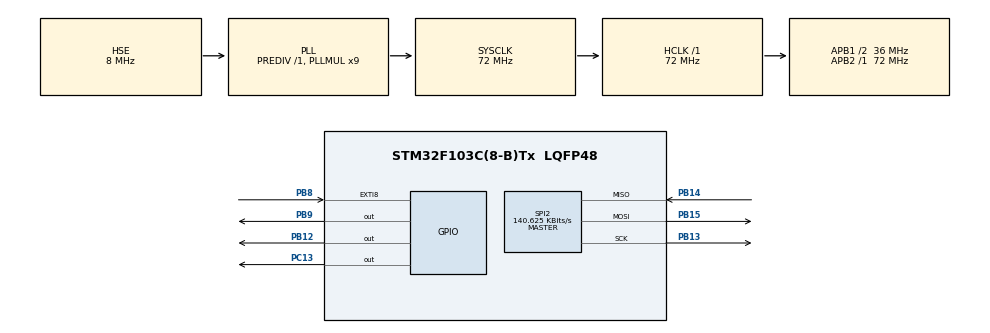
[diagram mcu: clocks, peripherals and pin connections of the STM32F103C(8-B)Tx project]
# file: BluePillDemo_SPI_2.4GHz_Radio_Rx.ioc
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Mcu.Family=STM32F1
Mcu.Name=STM32F103C(8-B)Tx
Mcu.Package=LQFP48
NVIC.EXTI9_5_IRQn=true\:0\:0\:false\:false\:true\:true\:true
NVIC.PriorityGroup=NVIC_PRIORITYGROUP_4
PA13.Mode=Serial_Wire
PA13.Signal=SYS_JTMS-SWDIO
PA14.Mode=Serial_Wire
PA14.Signal=SYS_JTCK-SWCLK
PB12.GPIO_Speed=GPIO_SPEED_FREQ_HIGH
PB12.Signal=GPIO_Output
PB13.Mode=Full_Duplex_Master
PB13.Signal=SPI2_SCK
PB14.Mode=Full_Duplex_Master
PB14.Signal=SPI2_MISO
PB15.Mode=Full_Duplex_Master
PB15.Signal=SPI2_MOSI
PB8.GPIO_ModeDefaultEXTI=GPIO_MODE_IT_FALLING
PB8.Signal=GPXTI8
PB9.GPIO_Speed=GPIO_SPEED_FREQ_HIGH
PB9.Signal=GPIO_Output
PC13-TAMPER-RTC.GPIO_Speed=GPIO_SPEED_FREQ_HIGH
PC13-TAMPER-RTC.PinState=GPIO_PIN_SET
PC13-TAMPER-RTC.Signal=GPIO_Output
PC14-OSC32_IN.Mode=LSE-External-Oscillator
PC14-OSC32_IN.Signal=RCC_OSC32_IN
PC15-OSC32_OUT.Mode=LSE-External-Oscillator
PC15-OSC32_OUT.Signal=RCC_OSC32_OUT
PD0-OSC_IN.Mode=HSE-External-Oscillator
PD0-OSC_IN.Signal=RCC_OSC_IN
PD1-OSC_OUT.Mode=HSE-External-Oscillator
PD1-OSC_OUT.Signal=RCC_OSC_OUT
ProjectManager.HeapSize=0x200
ProjectManager.StackSize=0x400
ProjectManager.TargetToolchain=STM32CubeIDE
RCC.AHBFreq_Value=72000000
RCC.APB1CLKDivider=RCC_HCLK_DIV2
RCC.APB1Freq_Value=36000000
RCC.APB1TimFreq_Value=72000000
RCC.APB2Freq_Value=72000000
RCC.APB2TimFreq_Value=72000000
RCC.HCLKFreq_Value=72000000
RCC.PLLMUL=RCC_PLL_MUL9
RCC.PLLSourceVirtual=RCC_PLLSOURCE_HSE
RCC.SYSCLKFreq_VALUE=72000000
RCC.SYSCLKSource=RCC_SYSCLKSOURCE_PLLCLK
RCC.USBFreq_Value=72000000
SPI2.BaudRatePrescaler=SPI_BAUDRATEPRESCALER_256
SPI2.CalculateBaudRate=140.625 KBits/s
SPI2.Direction=SPI_DIRECTION_2LINES
SPI2.Mode=SPI_MODE_MASTER
SPI2.VirtualType=VM_MASTER
board=custom

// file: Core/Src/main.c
/* USER CODE BEGIN Header */
/**
  ******************************************************************************
  * @file           : main.c
  * @brief          : Main program body
  ******************************************************************************
  * @attention
  *
  * <h2><center>&copy; Copyright (c) 2020 STMicroelectronics.
  * All rights reserved.</center></h2>
  *
  * This software component is licensed by ST under BSD 3-Clause license,
  * the "License"; You may not use this file except in compliance with the
  * License. You may obtain a copy of the License at:
  *                        opensource.org/licenses/BSD-3-Clause
  *
  ******************************************************************************
  */
/* USER CODE END Header */

#include "main.h"

/* USER CODE BEGIN Includes */
#include <stdbool.h>
#include "nrf24l01.h"

/* USER CODE END Includes */

SPI_HandleTypeDef hspi2;

void SystemClock_Config(void);
static void MX_GPIO_Init(void);
static void MX_SPI2_Init(void);

/* USER CODE BEGIN 0 */

void HAL_GPIO_EXTI_Callback(uint16_t GPIO_Pin)
{
  if (GPIO_Pin == GPIO_PIN_8)
  {
	uint8_t data;

	// read the data from the radio chip
	(void)nrf24l01_read_rx_payload((uint8_t *)&data, 1U);

	// acknowledge the interrupt on the radio chip
	nrf24l01_irq_clear_all();

	HAL_GPIO_TogglePin(GPIOC, GPIO_PIN_13);
  }
}

/* USER CODE END 0 */

int main(void)
{

  /* MCU Configuration--------------------------------------------------------*/

  /* Reset of all peripherals, Initializes the Flash interface and the Systick. */
  HAL_Init();

  /* Configure the system clock */
  SystemClock_Config();

  /* Initialize all configured peripherals */
  MX_GPIO_Init();
  MX_SPI2_Init();
  /* USER CODE BEGIN 2 */

  nrf24l01_initialize(nrf24l01_CONFIG_DEFAULT_VAL | nrf24l01_CONFIG_PWR_UP | nrf24l01_CONFIG_PRIM_RX,
					true,
					nrf24l01_EN_AA_ENAA_NONE,
					nrf24l01_EN_RXADDR_DEFAULT_VAL,
					nrf24l01_SETUP_AW_DEFAULT_VAL,
					nrf24l01_SETUP_RETR_DEFAULT_VAL,
					nrf24l01_RF_CH_DEFAULT_VAL,
					nrf24l01_RF_SETUP_DEFAULT_VAL,
					NULL,
					NULL,
					nrf24l01_RX_ADDR_P2_DEFAULT_VAL,
					nrf24l01_RX_ADDR_P3_DEFAULT_VAL,
					nrf24l01_RX_ADDR_P4_DEFAULT_VAL,
					nrf24l01_RX_ADDR_P5_DEFAULT_VAL,
					NULL,
					1U,
					nrf24l01_RX_PW_P1_DEFAULT_VAL,
					nrf24l01_RX_PW_P2_DEFAULT_VAL,
					nrf24l01_RX_PW_P3_DEFAULT_VAL,
					nrf24l01_RX_PW_P4_DEFAULT_VAL,
					nrf24l01_RX_PW_P5_DEFAULT_VAL);

  /* USER CODE END 2 */

  /* Infinite loop */
  while (1)
  {

  }
}

void SystemClock_Config(void)
{
  RCC_OscInitTypeDef RCC_OscInitStruct = {0};
  RCC_ClkInitTypeDef RCC_ClkInitStruct = {0};

  /** Initializes the CPU, AHB and APB busses clocks
  */
  RCC_OscInitStruct.OscillatorType = RCC_OSCILLATORTYPE_HSE;
  RCC_OscInitStruct.HSEState = RCC_HSE_ON;
  RCC_OscInitStruct.HSEPredivValue = RCC_HSE_PREDIV_DIV1;
  RCC_OscInitStruct.HSIState = RCC_HSI_ON;
  RCC_OscInitStruct.PLL.PLLState = RCC_PLL_ON;
  RCC_OscInitStruct.PLL.PLLSource = RCC_PLLSOURCE_HSE;
  RCC_OscInitStruct.PLL.PLLMUL = RCC_PLL_MUL9;
  if (HAL_RCC_OscConfig(&RCC_OscInitStruct) != HAL_OK)
  {
    Error_Handler();
  }
  /** Initializes the CPU, AHB and APB busses clocks
  */
  RCC_ClkInitStruct.ClockType = RCC_CLOCKTYPE_HCLK|RCC_CLOCKTYPE_SYSCLK
                              |RCC_CLOCKTYPE_PCLK1|RCC_CLOCKTYPE_PCLK2;
  RCC_ClkInitStruct.SYSCLKSource = RCC_SYSCLKSOURCE_PLLCLK;
  RCC_ClkInitStruct.AHBCLKDivider = RCC_SYSCLK_DIV1;
  RCC_ClkInitStruct.APB1CLKDivider = RCC_HCLK_DIV2;
  RCC_ClkInitStruct.APB2CLKDivider = RCC_HCLK_DIV1;

  if (HAL_RCC_ClockConfig(&RCC_ClkInitStruct, FLASH_LATENCY_2) != HAL_OK)
  {
    Error_Handler();
  }
}

static void MX_SPI2_Init(void)
{

  /* SPI2 parameter configuration*/
  hspi2.Instance = SPI2;
  hspi2.Init.Mode = SPI_MODE_MASTER;
  hspi2.Init.Direction = SPI_DIRECTION_2LINES;
  hspi2.Init.DataSize = SPI_DATASIZE_8BIT;
  hspi2.Init.CLKPolarity = SPI_POLARITY_LOW;
  hspi2.Init.CLKPhase = SPI_PHASE_1EDGE;
  hspi2.Init.NSS = SPI_NSS_SOFT;
  hspi2.Init.BaudRatePrescaler = SPI_BAUDRATEPRESCALER_256;
  hspi2.Init.FirstBit = SPI_FIRSTBIT_MSB;
  hspi2.Init.TIMode = SPI_TIMODE_DISABLE;
  hspi2.Init.CRCCalculation = SPI_CRCCALCULATION_DISABLE;
  hspi2.Init.CRCPolynomial = 10;
  if (HAL_SPI_Init(&hspi2) != HAL_OK)
  {
    Error_Handler();
  }

}

static void MX_GPIO_Init(void)
{
  GPIO_InitTypeDef GPIO_InitStruct = {0};

  /* GPIO Ports Clock Enable */
  __HAL_RCC_GPIOC_CLK_ENABLE();
  __HAL_RCC_GPIOD_CLK_ENABLE();
  __HAL_RCC_GPIOB_CLK_ENABLE();
  __HAL_RCC_GPIOA_CLK_ENABLE();

  /*Configure GPIO pin Output Level */
  HAL_GPIO_WritePin(GPIOC, GPIO_PIN_13, GPIO_PIN_SET);

  /*Configure GPIO pin Output Level */
  HAL_GPIO_WritePin(GPIOB, GPIO_PIN_12|GPIO_PIN_9, GPIO_PIN_RESET);

  /*Configure GPIO pin : PC13 */
  GPIO_InitStruct.Pin = GPIO_PIN_13;
  GPIO_InitStruct.Mode = GPIO_MODE_OUTPUT_PP;
  GPIO_InitStruct.Pull = GPIO_NOPULL;
  GPIO_InitStruct.Speed = GPIO_SPEED_FREQ_HIGH;
  HAL_GPIO_Init(GPIOC, &GPIO_InitStruct);

  /*Configure GPIO pins : PB12 PB9 */
  GPIO_InitStruct.Pin = GPIO_PIN_12|GPIO_PIN_9;
  GPIO_InitStruct.Mode = GPIO_MODE_OUTPUT_PP;
  GPIO_InitStruct.Pull = GPIO_NOPULL;
  GPIO_InitStruct.Speed = GPIO_SPEED_FREQ_HIGH;
  HAL_GPIO_Init(GPIOB, &GPIO_InitStruct);

  /*Configure GPIO pin : PB8 */
  GPIO_InitStruct.Pin = GPIO_PIN_8;
  GPIO_InitStruct.Mode = GPIO_MODE_IT_FALLING;
  GPIO_InitStruct.Pull = GPIO_NOPULL;
  HAL_GPIO_Init(GPIOB, &GPIO_InitStruct);

  /* EXTI interrupt init*/
  HAL_NVIC_SetPriority(EXTI9_5_IRQn, 0, 0);
  HAL_NVIC_EnableIRQ(EXTI9_5_IRQn);

}

void Error_Handler(void)
{
}

/************************ (C) COPYRIGHT STMicroelectronics *****END OF FILE****/
